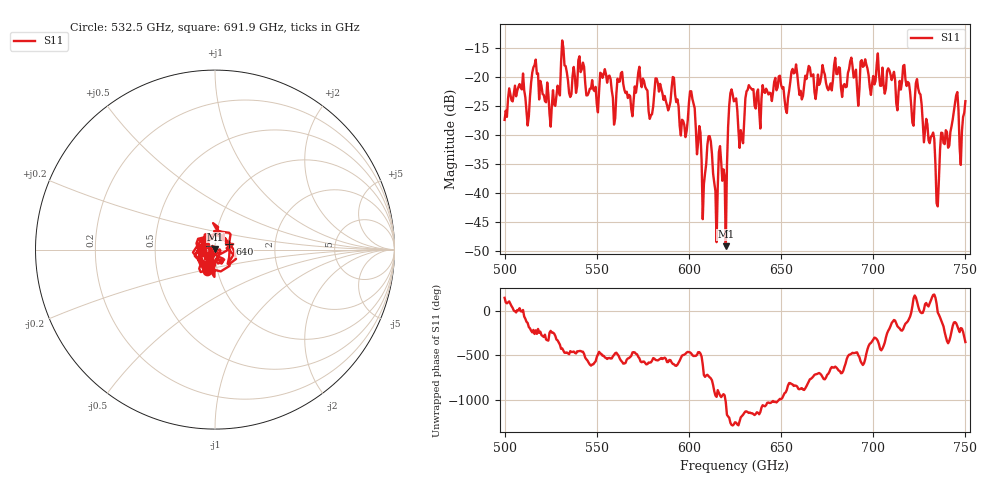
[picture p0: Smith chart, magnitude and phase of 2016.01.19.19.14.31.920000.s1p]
!Created with skrf (http://scikit-rf.org).
# GHz S RI R 50.0
!freq ReS11 ImS11
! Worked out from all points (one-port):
!   401 points, 500 GHz to 750 GHz, reference 50 ohm
!   lowest |S11| = -49.1 dB at 620 GHz (marker M1), VSWR 1.01, Z = 50.2 + j0.291 ohm
!   |S11| at or under -10 dB: start of sweep to end of sweep
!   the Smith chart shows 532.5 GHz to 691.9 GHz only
!   S11 on the Smith chart (normalised r, x): 532.5 GHz: 0.89, -0.21; 640 GHz: 1.17, +0.08; 691.9 GHz: 0.92, -0.07
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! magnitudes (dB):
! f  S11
! 500 GHz  -27.3
! 512.5 GHz  -28.3
! 516.2 GHz  -17.9
! 525.6 GHz  -24.9
! 531.2 GHz  -13.6
! 532.5 GHz  -17.9
! 559.4 GHz  -28.1
! 562.5 GHz  -20.7
! 593.8 GHz  -23.8
! 601.9 GHz  -23.7
! 608.1 GHz  -38.4
! 611.2 GHz  -30.1
! 614.4 GHz  -39.6
! 620 GHz  -49.1
! 622.5 GHz  -22.7
! 625 GHz  -24.0
! 628.1 GHz  -29.1
! 631.9 GHz  -22.1
! 640 GHz  -21.3
! 656.2 GHz  -18.5
! 687.5 GHz  -17.2
! 691.9 GHz  -24.9
! 718.8 GHz  -20.8
! 724.4 GHz  -21.9
! 735 GHz  -42.2
! 744.4 GHz  -24.4
! 748.1 GHz  -29.3
! 750 GHz  -24.1
